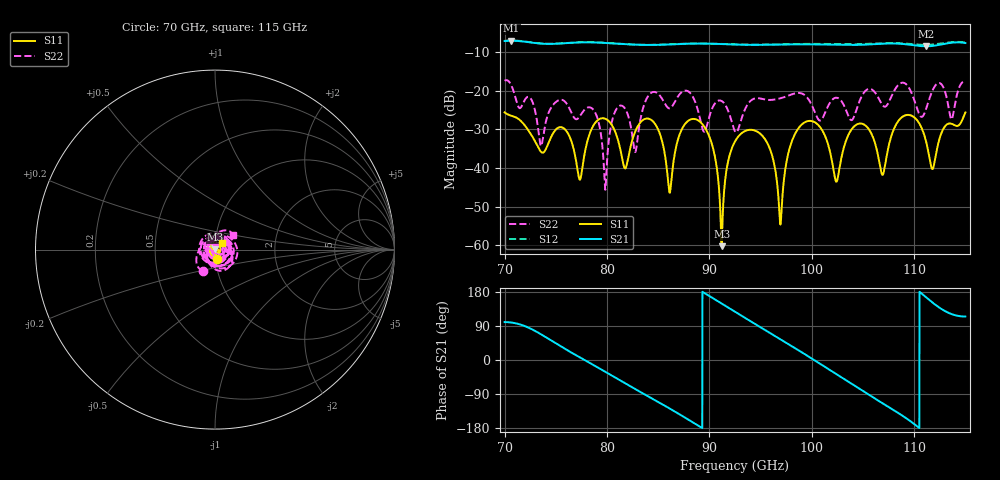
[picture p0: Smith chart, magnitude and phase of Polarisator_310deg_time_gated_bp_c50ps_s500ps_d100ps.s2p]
# Hz S RI R 1.000000
! Metas.Vna.Tools, 2.4.7898.19887
! Metas.Vna.Data, 2.4.7898.19873
! Created: UTC 2021.09.30 14:31:00
! FREQ  re:S1,1  im:S1,1  re:S2,1  im:S2,1  re:S1,2  im:S1,2  re:S2,2  im:S2,2
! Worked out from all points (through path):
!   2251 points, 70 GHz to 115 GHz, reference 1 ohm
!   highest |S21| = -7.03 dB at 70.66 GHz (marker M1); lowest = -8.5 dB at 111.2 GHz (marker M2)
!   lowest |S11| = -60.3 dB at 91.2 GHz (marker M3), VSWR 1.00, Z = 1 + j0.00189 ohm
!   |S11| at or under -10 dB: start of sweep to end of sweep
!   |S22| runs from -45.7 to -17.2 dB; largest |S21 - S12| = 0.097
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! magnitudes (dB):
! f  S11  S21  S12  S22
! 70 GHz  -25.6  -7.1  -7.0  -17.4
! 70.66 GHz  -26.4  -7.0  -7.0  -18.6
! 73.56 GHz  -35.8  -7.8  -7.7  -34.3
! 75.68 GHz  -29.6  -7.7  -7.7  -22.4
! 77.5 GHz  -41.6  -7.4  -7.4  -26.0
! 79.84 GHz  -27.2  -7.6  -7.6  -45.7
! 80.96 GHz  -31.8  -7.8  -7.8  -24.6
! 82.76 GHz  -30.5  -8.1  -8.0  -35.9
! 85 GHz  -30.1  -8.1  -8.1  -20.8
! 86.12 GHz  -46.4  -8.0  -7.9  -24.5
! 89.42 GHz  -29.0  -7.8  -7.7  -30.5
! 91.2 GHz  -60.3  -7.9  -7.9  -22.7
! 92.5 GHz  -33.1  -8.0  -8.0  -30.5
! 95.42 GHz  -32.5  -8.1  -8.0  -22.3
! 96.94 GHz  -54.6  -8.0  -7.9  -21.9
! 98.04 GHz  -33.2  -8.0  -7.9  -20.9
! 100 GHz  -27.9  -8.0  -7.8  -23.7
! 102.4 GHz  -43.5  -8.1  -7.9  -21.8
! 104.4 GHz  -28.8  -8.1  -7.9  -24.9
! 107.5 GHz  -34.4  -7.8  -7.6  -23.0
! 111.2 GHz  -33.1  -8.5  -8.1  -24.7
! 115 GHz  -25.6  -7.6  -7.5  -17.7
